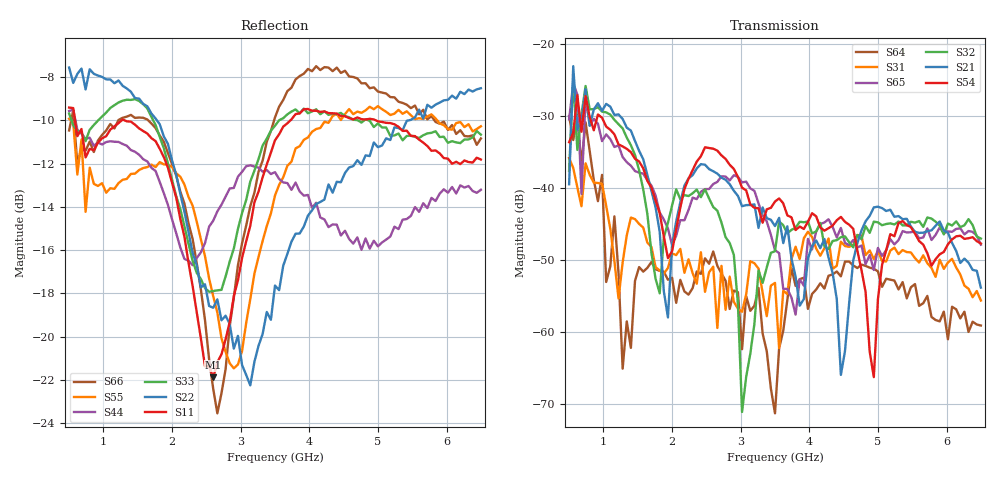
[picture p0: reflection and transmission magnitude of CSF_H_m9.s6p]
!Keysight Technologies,M9804A,MY58100912,A.14.10.03
!Date: Thursday, April 27, 2023 10:28:33
!Correction: S11(C  6-Port  )
!S12(C  6-Port  )
!S13(C  6-Port  )
!S14(C  6-Port  )
!S15(C  6-Port  )
!S16(C  6-Port  )
!S21(C  6-Port  )
!S22(C  6-Port  )
!S23(C  6-Port  )
!S24(C  6-Port  )
!S25(C  6-Port  )
!S26(C  6-Port  )
!S31(C  6-Port  )
!S32(C  6-Port  )
!S33(C  6-Port  )
!S34(C  6-Port  )
!S35(C  6-Port  )
!S36(C  6-Port  )
!S41(C  6-Port  )
!S42(C  6-Port  )
!S43(C  6-Port  )
!S44(C  6-Port  )
!S45(C  6-Port  )
!S46(C  6-Port  )
!S51(C  6-Port  )
!S52(C  6-Port  )
!S53(C  6-Port  )
!S54(C  6-Port  )
!S55(C  6-Port  )
!S56(C  6-Port  )
!S61(C  6-Port  )
!S62(C  6-Port  )
!S63(C  6-Port  )
!S64(C  6-Port  )
!S65(C  6-Port  )
!S66(C  6-Port  )
!S6P File: Measurement: :
# Hz S  RI  R 50
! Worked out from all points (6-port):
!   101 points, 500 MHz to 6.5 GHz, reference 50 ohm
!   strongest paths, dB at 500 MHz, 2 GHz, 3.5 GHz, 5 GHz, 6.5 GHz:
!     S54: -33.6, -48.8, -41.9, -55.5, -47.7
!     S21: -39.5, -47.9, -45.3, -42.6, -53.8
!     S32: -37.6, -42.4, -48.8, -44.8, -47.0
!     S65: -30.5, -47.9, -48.7, -48.3, -47.9
!     S31: -35.8, -49.1, -53.2, -48.8, -55.6
!     S64: -30.0, -52.5, -71.3, -51.6, -59.1
!   lowest |S11| = -21.9 dB at 2.6 GHz (marker M1), VSWR 1.18, Z = 42.8 + j1.96 ohm
!   |S11| at or under -10 dB: 585.9 MHz to 1.269 GHz (682.7 MHz wide, 73.6 % of centre); 1.303 GHz to 3.726 GHz (2.423 GHz wide, 96.4 % of centre); 4.966 GHz to end of sweep
